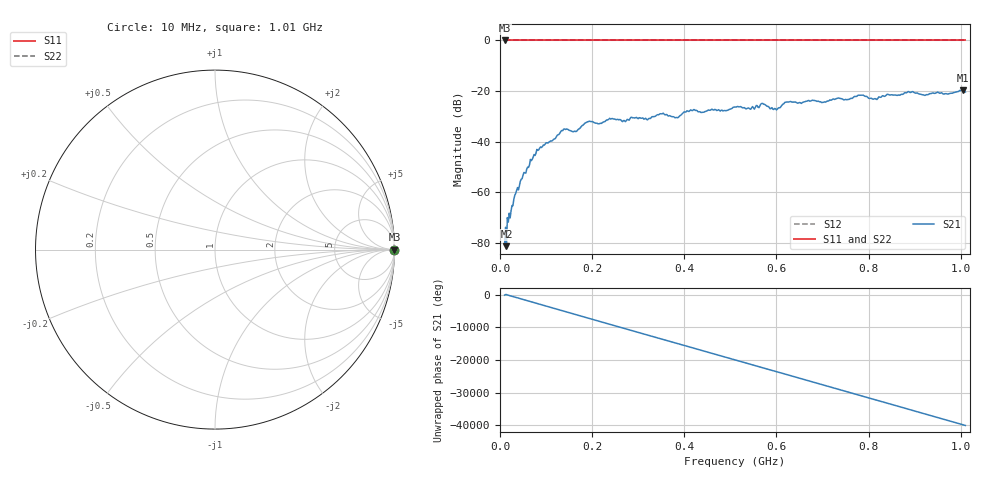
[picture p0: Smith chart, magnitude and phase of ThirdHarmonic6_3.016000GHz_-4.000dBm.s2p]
! 8/17/2025 8:39:52 AM
! C:\ANRITSUVNA\TEMP\TEMP.S2P
! CHANNEL.1
! TR.MEASUREMENT
! RAW.DATA
! RF.CORRECTION.OFF
! AVERAGING.OFF
! IF.BANDWIDTH: 5KHZ
! SWEEPTYPE:  FREQ.SWEEP(Linear)
! Reference Plane Port Info
! PORT:  PORT1  PORT2
! DISTANCE:  0  m  0  m
! TIME:  0  s  0  s
! PHASE.OFFSET:  0  deg.  0  deg.
! LOSS:  0  dB  0  dB
! REF.LOSS:  0  dB  0  dB
! REF.FREQ:  0  Hz  0  Hz
! Power Info
! POWER:  -20  dBm  -20  dBm
! EFF.POWER:  -20  dBm  -20  dBm
! SOURCE.ATTEN:  0  dB  0  dB
! TEST.ATTEN:  0  dB  0  dB
# GHZ S RI R 50.0
! FREQ.GHZ  S11RE  S11IM  S21RE  S21IM  S12RE  S12IM  S22RE  S22IM
!; PortSelection: Port_12
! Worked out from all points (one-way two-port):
!   501 points, 10 MHz to 1.01 GHz, reference 50 ohm
!   highest |S21| = -19.68 dB at 1.004 GHz (marker M1); lowest = -81.4 dB at 14 MHz (marker M2)
!   lowest |S11| = 0.0 dB at 10 MHz (marker M3)
!   |S11| at or under -10 dB: nowhere
!   |S22| runs from 0.0 to 0.0 dB; largest |S21 - S12| = 1.1
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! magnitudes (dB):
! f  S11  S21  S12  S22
! 10 MHz  0.0  -81.0  0.0  0.0
! 14 MHz  0.0  -81.4  0.0  0.0
! 34 MHz  0.0  -60.6  0.0  0.0
! 78 MHz  0.0  -44.7  0.0  0.0
! 136 MHz  0.0  -35.7  0.0  0.0
! 162 MHz  0.0  -35.9  0.0  0.0
! 178 MHz  0.0  -33.7  0.0  0.0
! 192 MHz  0.0  -32.1  0.0  0.0
! 322 MHz  0.0  -31.0  0.0  0.0
! 344 MHz  0.0  -29.4  0.0  0.0
! 384 MHz  0.0  -30.5  0.0  0.0
! 418 MHz  0.0  -27.8  0.0  0.0
! 510 MHz  0.0  -26.4  0.0  0.0
! 570 MHz  0.0  -24.9  0.0  0.0
! 598 MHz  0.0  -27.1  0.0  0.0
! 622 MHz  0.0  -24.4  0.0  0.0
! 678 MHz  0.0  -23.6  0.0  0.0
! 782 MHz  0.0  -21.7  0.0  0.0
! 814 MHz  0.0  -23.0  0.0  0.0
! 844 MHz  0.0  -21.5  0.0  0.0
! 1.004 GHz  0.0  -19.7  0.0  0.0
! 1.01 GHz  0.0  -20.4  0.0  0.0
